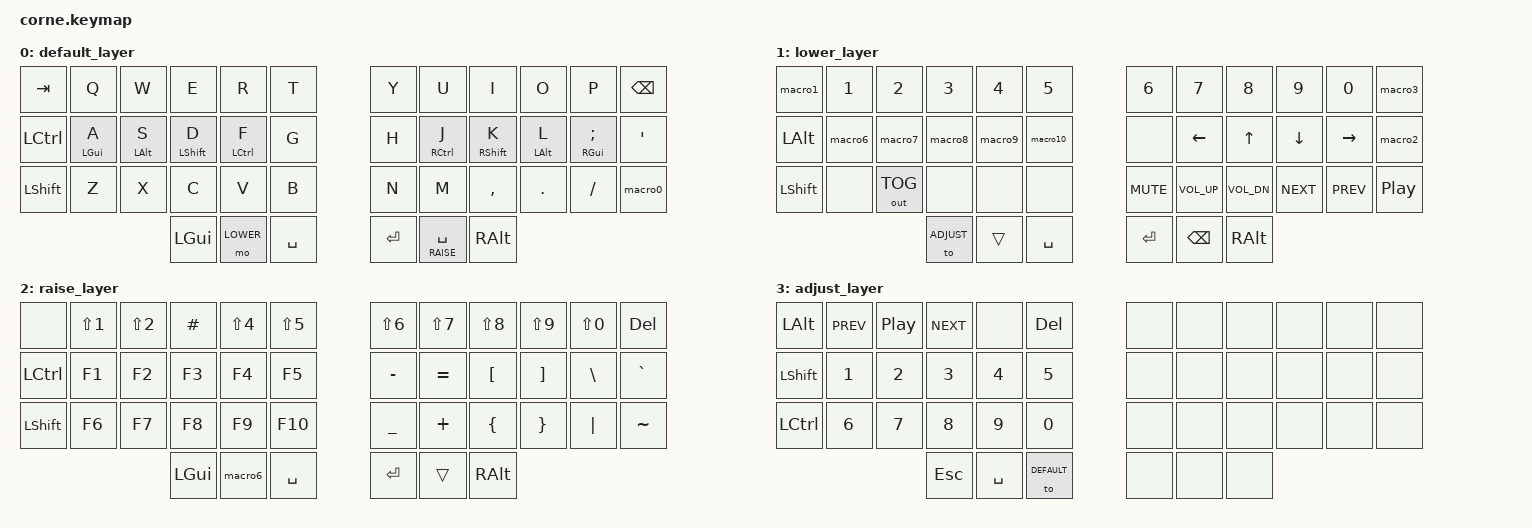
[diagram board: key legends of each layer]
#include <behaviors.dtsi>
#include <dt-bindings/zmk/keys.h>
#include <dt-bindings/zmk/bt.h>
#include <dt-bindings/zmk/outputs.h>

#define DEFAULT 0
#define LOWER   1
#define RAISE   2
#define ADJUST  3

/ {
    macros {
        macro0: macro0 { compatible = "zmk,behavior-macro"; #binding-cells = <0>; bindings = <&kp LGUI &kp LCTRL &kp G &kp LCTRL &kp LGUI>; };
        macro1: macro1 { compatible = "zmk,behavior-macro"; #binding-cells = <0>; bindings = <&kp LSHFT &kp TAB>; };
        macro2: macro2 { compatible = "zmk,behavior-macro"; #binding-cells = <0>; bindings = <&kp LGUI &kp LBKT &kp LGUI>; };
        macro3: macro3 { compatible = "zmk,behavior-macro"; #binding-cells = <0>; bindings = <&kp LGUI &kp RBKT &kp LGUI>; };
        macro6: macro6 { compatible = "zmk,behavior-macro"; #binding-cells = <0>; bindings = <&kp LCTRL &kp N1>; };
        macro7: macro7 { compatible = "zmk,behavior-macro"; #binding-cells = <0>; bindings = <&kp LCTRL &kp N2>; };
        macro8: macro8 { compatible = "zmk,behavior-macro"; #binding-cells = <0>; bindings = <&kp LCTRL &kp N3>; };
        macro9: macro9 { compatible = "zmk,behavior-macro"; #binding-cells = <0>; bindings = <&kp LCTRL &kp N4>; };
        macro10: macro10 { compatible = "zmk,behavior-macro"; #binding-cells = <0>; bindings = <&kp LCTRL &kp N5>; };
    };

    behaviors {
        hm: homerow_mods {
            compatible = "zmk,behavior-hold-tap";
            label = "HOMEROW_MODS";
            #binding-cells = <2>;
            tapping-term-ms = <200>;
            quick-tap-ms = <0>;
            flavor = "tap-preferred";
            bindings = <&kp>, <&kp>;
        };
    };

    keymap {
        compatible = "zmk,keymap";

        default_layer {
            bindings = <
                // ┌─────────┬─────────┬─────────┬─────────┬─────────┬─────────┐   ┌─────────┬─────────┬─────────┬─────────┬─────────┬─────────┐
                     &kp TAB   &kp Q     &kp W     &kp E     &kp R     &kp T         &kp Y     &kp U     &kp I     &kp O     &kp P     &kp BSPC
                // ├─────────┼─────────┼─────────┼─────────┼─────────┼─────────┤   ├─────────┼─────────┼─────────┼─────────┼─────────┼─────────┤
                    &kp LCTRL &hm LGUI A &hm LALT S &hm LSHFT D &hm LCTRL F &kp G    &kp H  &hm RCTRL J &hm RSHFT K &hm LALT L &hm RGUI SEMI &kp SQT
                // ├─────────┼─────────┼─────────┼─────────┼─────────┼─────────┤   ├─────────┼─────────┼─────────┼─────────┼─────────┼─────────┤
                    &kp LSHFT  &kp Z     &kp X     &kp C     &kp V     &kp B         &kp N     &kp M    &kp COMMA  &kp DOT   &kp FSLH  &macro0
                // └─────────┴─────────┴─────────┼─────────┼─────────┼─────────┤   ├─────────┼─────────┼─────────┼─────────┴─────────┴─────────┘
                                                  &kp LGUI  &mo LOWER &kp SPACE     &kp RET &lt RAISE SPACE &kp RALT
                //                               └─────────┴─────────┴─────────┘   └─────────┴─────────┴─────────┘
            >;
        };

        lower_layer {
            bindings = <
                // ┌─────────┬─────────┬─────────┬─────────┬─────────┬─────────┐   ┌─────────┬─────────┬─────────┬─────────┬─────────┬─────────┐
                   &macro1    &kp N1    &kp N2    &kp N3    &kp N4    &kp N5        &kp N6    &kp N7    &kp N8    &kp N9    &kp N0    &macro3  
                // ├─────────┼─────────┼─────────┼─────────┼─────────┼─────────┤   ├─────────┼─────────┼─────────┼─────────┼─────────┼─────────┤
                   &kp LALT   &macro6   &macro7   &macro8   &macro9   &macro10      &none     &kp LEFT  &kp UP    &kp DOWN  &kp RIGHT &macro2  
                // ├─────────┼─────────┼─────────┼─────────┼─────────┼─────────┤   ├─────────┼─────────┼─────────┼─────────┼─────────┼─────────┤
                   &kp LSHFT  &none    &out OUT_TOG &none   &none     &none         &kp C_MUTE &kp C_VOL_UP &kp C_VOL_DN &kp C_NEXT &kp C_PREV &kp C_PP
                // └─────────┴─────────┴─────────┼─────────┼─────────┼─────────┤   ├─────────┼─────────┼─────────┼─────────┴─────────┴─────────┘
                                                 &to ADJUST &trans    &kp SPACE     &kp RET   &kp BSPC  &kp RALT
                //                               └─────────┴─────────┴─────────┘   └─────────┴─────────┴─────────┘
            >;
        };

        raise_layer {
            bindings = <
                // ┌─────────┬─────────┬─────────┬─────────┬─────────┬─────────┐   ┌─────────┬─────────┬─────────┬─────────┬─────────┬─────────┐
                   &none     &kp LS(N1) &kp LS(N2) &kp HASH &kp LS(N4) &kp LS(N5)   &kp LS(N6) &kp LS(N7) &kp LS(N8) &kp LS(N9) &kp LS(N0) &kp DEL 
                // ├─────────┼─────────┼─────────┼─────────┼─────────┼─────────┤   ├─────────┼─────────┼─────────┼─────────┼─────────┼─────────┤
                   &kp LCTRL &kp F1    &kp F2     &kp F3    &kp F4    &kp F5        &kp MINUS &kp EQUAL &kp LBKT  &kp RBKT  &kp BSLH  &kp GRAVE
                // ├─────────┼─────────┼─────────┼─────────┼─────────┼─────────┤   ├─────────┼─────────┼─────────┼─────────┼─────────┼─────────┤
                   &kp LSHFT &kp F6    &kp F7     &kp F8    &kp F9    &kp F10       &kp UNDER &kp PLUS  &kp LBRC  &kp RBRC  &kp PIPE  &kp TILDE
                // └─────────┴─────────┴─────────┼─────────┼─────────┼─────────┤   ├─────────┼─────────┼─────────┼─────────┴─────────┴─────────┘
                                                 &kp LGUI   &macro6   &kp SPACE     &kp RET   &trans    &kp RALT
                //                               └─────────┴─────────┴─────────┘   └─────────┴─────────┴─────────┘
            >;
        };

        adjust_layer {
            bindings = <
                // ┌─────────┬─────────┬─────────┬─────────┬─────────┬─────────┐   ┌─────────┬─────────┬─────────┬─────────┬─────────┬─────────┐
                   &kp LALT  &kp C_PREV &kp C_PP  &kp C_NEXT &none    &kp DEL       &none     &none     &none     &none     &none     &none    
                // ├─────────┼─────────┼─────────┼─────────┼─────────┼─────────┤   ├─────────┼─────────┼─────────┼─────────┼─────────┼─────────┤
                   &kp LSHFT &kp N1    &kp N2     &kp N3    &kp N4    &kp N5        &none     &none     &none     &none     &none     &none    
                // ├─────────┼─────────┼─────────┼─────────┼─────────┼─────────┤   ├─────────┼─────────┼─────────┼─────────┼─────────┼─────────┤
                   &kp LCTRL &kp N6    &kp N7     &kp N8    &kp N9    &kp N0        &none     &none     &none     &none     &none     &none    
                // └─────────┴─────────┴─────────┼─────────┼─────────┼─────────┤   ├─────────┼─────────┼─────────┼─────────┴─────────┴─────────┘
                                                 &kp ESC   &kp SPACE &to DEFAULT    &none     &none     &none
                //                               └─────────┴─────────┴─────────┘   └─────────┴─────────┴─────────┘
            >;
        };
    };
};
